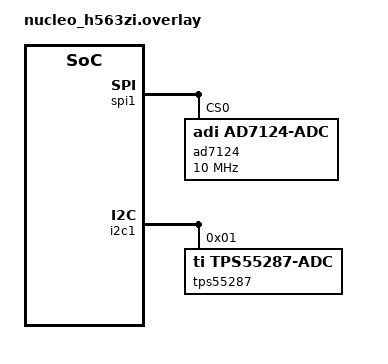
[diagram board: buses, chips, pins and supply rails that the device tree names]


&spi1 {
    status = "okay";

    ad7124: ad7124@0 {
        compatible = "adi,ad7124-adc";
        status = "okay";
        reg = <0>;
        spi-max-frequency = <10000000>;
        active-device = <1>;
        #io-channel-cells = <1>;
    };
};

&i2c1 {
	  status = "okay";

    tps55287: tps55287@0 { /* might need to have a different reg */
      compatible = "ti,tps55287-adc";
      status = "okay";
      reg = <1>;
      clock-frequency = <400000> //the fast standard clock-frequency is 400 kbps
      //might have to define the clock
      /* Whatever else you need to specify for this board */
    };
};
